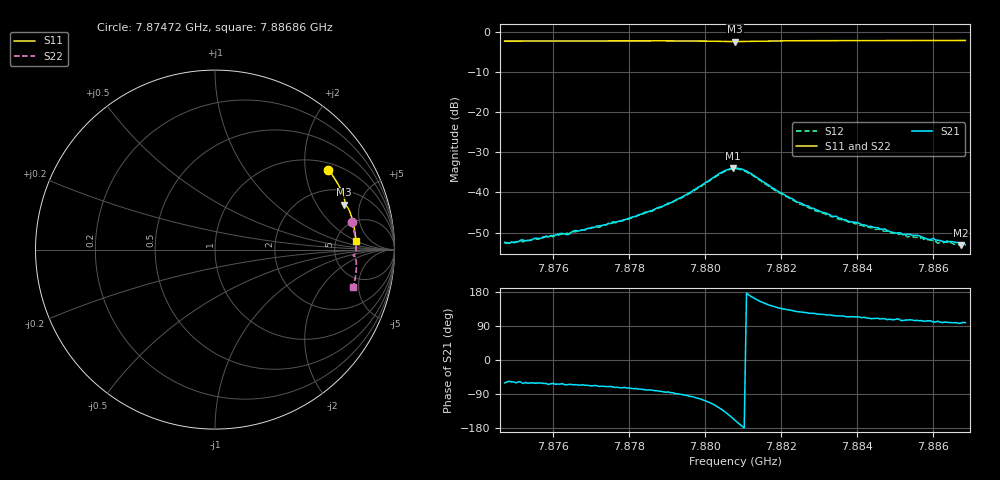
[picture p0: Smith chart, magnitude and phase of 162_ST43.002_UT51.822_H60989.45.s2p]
#  HZ  S  DB  R  50.00
! Rohde & Schwarz Vector Network Analyzer
! Rohde-Schwarz,ZNB20-2Port,1311601062101988,3.16
! Created: UTC 1/12/2023, 6:41:22 PM
! freq[Hz]  db:S11  ang:S11  db:S21  ang:S21  db:S12  ang:S12  db:S22  ang:S22
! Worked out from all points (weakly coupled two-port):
!   201 points, 7.87472 GHz to 7.88686 GHz, reference 50 ohm
!   highest |S21| = -33.90 dB at 7.88073 GHz (marker M1); lowest = -53.1 dB at 7.88673 GHz (marker M2)
!   lowest |S11| = -2.4 dB at 7.88079 GHz (marker M3), VSWR 7.42, Z = 148 + j178 ohm
!   |S11| at or under -10 dB: nowhere
!   |S22| runs from -2.3 to -1.9 dB; largest |S21 - S12| = 0.0013
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7.874724e9  -2.24 35.2  -52.43 -60.5  -52.69 -60.8  -2.18 11.2
7.875392e9  -2.23 33.4  -51.94 -60.5  -51.94 -61.7  -2.17 9.6
7.87618e9  -2.22 31.2  -50.25 -63.9  -50.48 -68.2  -2.14 7.7
7.876362e9  -2.21 30.7  -50.52 -65.6  -50.16 -68.1  -2.14 7.3
7.876787e9  -2.21 29.6  -49.35 -65.5  -49.40 -70.7  -2.12 6.3
7.877818e9  -2.19 26.7  -47.13 -73.6  -46.97 -76.4  -2.10 4.0
7.878788e9  -2.19 24.1  -43.73 -82.3  -43.80 -85.7  -2.09 1.7
7.879334e9  -2.20 22.5  -41.38 -90.3  -41.59 -92.9  -2.10 0.2
7.880426e9  -2.31 19.5  -35.01 -129.6  -35.23 -132.8  -2.21 -2.3
7.880729e9  -2.35 19.2  -33.90 -153.7  -34.13 -156.8  -2.26 -2.4
7.88079e9  -2.35 19.2  -33.91 -159.0  -34.12 -162.1  -2.26 -2.5
7.881093e9  -2.31 18.9  -34.66 176.1  -34.88 172.4  -2.21 -2.6
7.882427e9  -2.15 15.4  -42.41 127.6  -42.47 124.8  -2.04 -5.5
7.882852e9  -2.14 14.2  -43.94 123.1  -44.27 119.5  -2.02 -6.5
7.883762e9  -2.12 11.8  -47.18 113.7  -47.29 112.3  -2.00 -8.5
7.884854e9  -2.10 8.9  -49.69 107.7  -49.85 104.4  -1.97 -11.0
7.885703e9  -2.09 6.6  -51.05 104.1  -51.26 98.9  -1.96 -12.8
7.886127e9  -2.09 5.5  -51.91 102.4  -52.64 99.0  -1.94 -13.7
7.886673e9  -2.08 4.1  -52.49 96.7  -53.01 97.0  -1.95 -14.9
7.886734e9  -2.09 3.9  -53.07 97.2  -53.39 96.3  -1.95 -15.1
7.886794e9  -2.09 3.8  -52.57 99.3  -53.25 93.6  -1.94 -15.2
7.886855e9  -2.08 3.6  -53.03 98.6  -53.40 93.1  -1.95 -15.3
